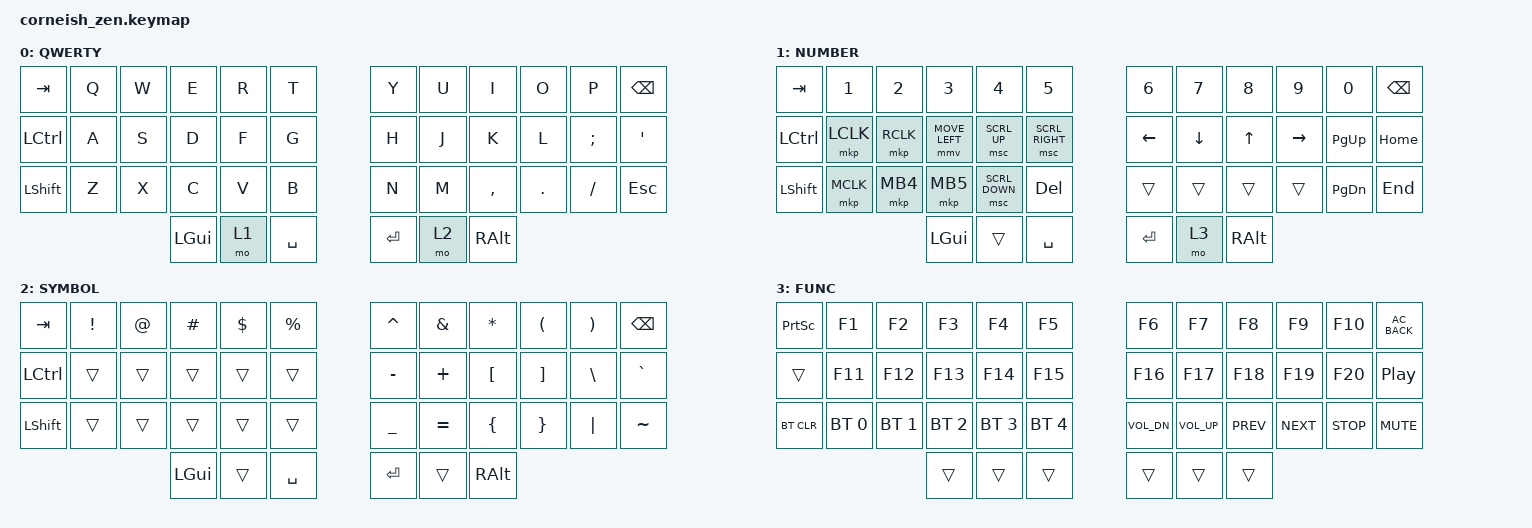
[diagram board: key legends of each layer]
/*
*
* Copyright (c) 2021 Darryl deHaan
* SPDX-License-Identifier: MIT
*
*/

#include <behaviors.dtsi>
#include <dt-bindings/zmk/bt.h>
#include <dt-bindings/zmk/keys.h>
#include <dt-bindings/zmk/pointing.h>

/ {
    chosen {
        zmk,physical-layout = &foostan_corne_6col_layout;

        // zmk,physical-layout = &foostan_corne_5col_layout;
    };
};

/ {
    keymap {
        compatible = "zmk,keymap";

        default_layer {
            display-name = "QWERTY";

            // --------------------------------------------------------------------------------
            // |  TAB |  Q  |  W  |  E  |  R  |  T  |   |  Y  |  U   |  I  |  O  |  P  | BKSP |
            // | CTRL |  A  |  S  |  D  |  F  |  G  |   |  H  |  J   |  K  |  L  |  ;  |  '   |
            // | SHFT |  Z  |  X  |  C  |  V  |  B  |   |  N  |  M   |  ,  |  .  |  /  | ESC  |
            //                    | GUI | LWR | SPC |   | ENT | RSE  | ALT |

            bindings = <
&kp TAB    &kp Q  &kp W  &kp E     &kp R  &kp T        &kp Y    &kp U  &kp I      &kp O    &kp P     &kp BSPC
&kp LCTRL  &kp A  &kp S  &kp D     &kp F  &kp G        &kp H    &kp J  &kp K      &kp L    &kp SEMI  &kp SQT
&kp LSHFT  &kp Z  &kp X  &kp C     &kp V  &kp B        &kp N    &kp M  &kp COMMA  &kp DOT  &kp FSLH  &kp ESC
                         &kp LGUI  &mo 1  &kp SPACE    &kp RET  &mo 2  &kp RALT
            >;
        };

        lower_layer {
            display-name = "NUMBER";

            // -----------------------------------------------------------------------------------------
            // |  TAB |  1  |  2  |  3  |  4  |  5  |   |  6  |  7  |  8  |  9  |  0  | BKSP |
            // | BTCLR| BT1 | BT2 | BT3 | BT4 | BT5 |   | LFT | DWN |  UP | RGT |     |      |
            // | SHFT |     |     |     |     |     |   |     |     |     |     |     |      |
            //                    | GUI |     | SPC |   | ENT |     | ALT |

            bindings = <
&kp TAB           &kp N1     &kp N2     &kp N3          &kp N4          &kp N5             &kp N6    &kp N7    &kp N8    &kp N9     &kp N0         &kp BSPC
&kp LEFT_CONTROL  &mkp LCLK  &mkp RCLK  &mmv MOVE_LEFT  &msc SCRL_UP    &msc SCRL_RIGHT    &kp LEFT  &kp DOWN  &kp UP    &kp RIGHT  &kp PAGE_UP    &kp HOME
&kp LSHFT         &mkp MCLK  &mkp MB4   &mkp MB5        &msc SCRL_DOWN  &kp DEL            &trans    &trans    &trans    &trans     &kp PAGE_DOWN  &kp END
                                        &kp LGUI        &trans          &kp SPACE          &kp RET   &mo 3     &kp RALT
            >;
        };

        raise_layer {
            display-name = "SYMBOL";

            // -----------------------------------------------------------------------------------------
            // |  TAB |  !  |  @  |  #  |  $  |  %  |   |  ^  |  &  |  *  |  (  |  )  | BKSP |
            // | CTRL |     |     |     |     |     |   |  -  |  =  |  [  |  ]  |  \  |  `   |
            // | SHFT |     |     |     |     |     |   |  _  |  +  |  {  |  }  | "|" |  ~   |
            //                    | GUI |     | SPC |   | ENT |     | ALT |

            bindings = <
&kp TAB    &kp EXCL  &kp AT  &kp HASH  &kp DLLR  &kp PRCNT    &kp CARET  &kp AMPS   &kp ASTRK  &kp LPAR  &kp RPAR  &kp BSPC
&kp LCTRL  &trans    &trans  &trans    &trans    &trans       &kp MINUS  &kp PLUS   &kp LBKT   &kp RBKT  &kp BSLH  &kp GRAVE
&kp LSHFT  &trans    &trans  &trans    &trans    &trans       &kp UNDER  &kp EQUAL  &kp LBRC   &kp RBRC  &kp PIPE  &kp TILDE
                             &kp LGUI  &trans    &kp SPACE    &kp RET    &trans     &kp RALT
            >;
        };

        lowest_layer {
            bindings = <
&kp PRINTSCREEN  &kp F1        &kp F2        &kp F3        &kp F4        &kp F5          &kp F6        &kp F7        &kp F8      &kp F9      &kp F10     &kp C_AC_BACK
&trans           &kp F11       &kp F12       &kp F13       &kp F14       &kp F15         &kp F16       &kp F17       &kp F18     &kp F19     &kp F20     &kp C_PLAY_PAUSE
&bt BT_CLR       &bt BT_SEL 0  &bt BT_SEL 1  &bt BT_SEL 2  &bt BT_SEL 3  &bt BT_SEL 4    &kp C_VOL_DN  &kp C_VOL_UP  &kp C_PREV  &kp C_NEXT  &kp C_STOP  &kp C_MUTE
                                             &trans        &trans        &trans          &trans        &trans        &trans
            >;

            label = "FUNC";
        };
    };
};
